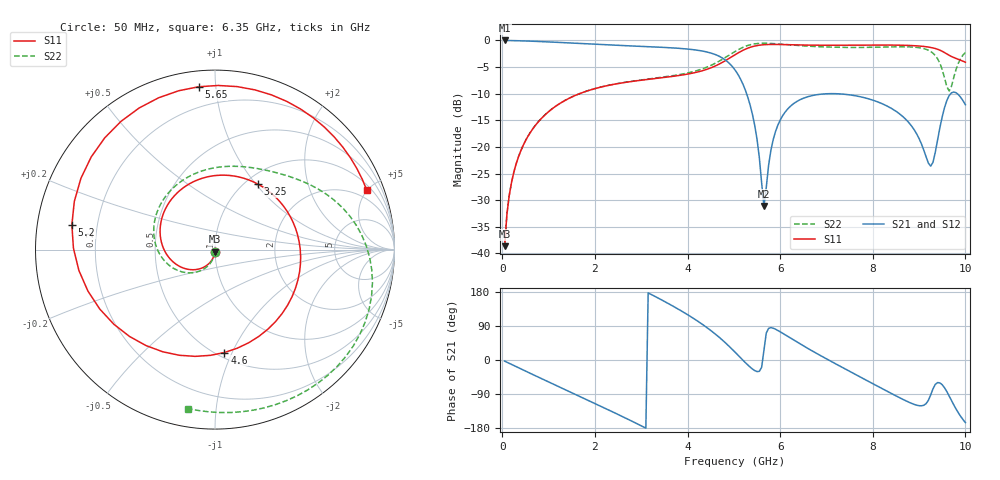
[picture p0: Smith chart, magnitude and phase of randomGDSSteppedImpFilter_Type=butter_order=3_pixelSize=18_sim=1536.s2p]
! freq	dB(S11)	phase(S11)	dB(S12)	phase(S12)
!  dB(S21)	phase(S21)	dB(S22)	phase(S22)
!S-par simulation data
#  GHz  S  DB  R 50
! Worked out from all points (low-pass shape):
!   200 points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, 50 MHz to 10 GHz, reference 50 ohm
!   highest |S21| = 0.00 dB at 50 MHz (marker M1); lowest = -31.1 dB at 5.65 GHz (marker M2)
!   |S21| within 3 dB of the highest: start of sweep to 4.691 GHz
!   lowest |S11| = -38.6 dB at 50 MHz (marker M3), VSWR 1.02, Z = 49.9 - j1.17 ohm
!   |S11| at or under -10 dB: start of sweep to 1.667 GHz
!   |S22| runs from -38.6 to -0.5 dB; largest |S21 - S12| = 0
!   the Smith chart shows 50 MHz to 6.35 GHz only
!   S11 on the Smith chart (normalised r, x): 50 MHz: 1.00, -0.02; 3.25 GHz: 1.14, +1.03; 4.6 GHz: 0.55, -0.94; 5.2 GHz: 0.11, +0.08; 5.65 GHz: 0.08, +0.90; 6.35 GHz: 1.30, +4.94
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0.05  -38.64 -92.9  -0.00 -2.9  -0.00 -2.9  -38.63 -92.4
0.2  -26.63 -102.8  -0.03 -11.7  -0.03 -11.7  -26.63 -101.0
0.5  -18.85 -121.9  -0.10 -29.2  -0.10 -29.2  -18.85 -117.4
1.75  -9.73 159.6  -0.61 -100.6  -0.61 -100.6  -9.73 177.6
3.25  -7.20 56.6  -1.21 170.8  -1.21 170.8  -7.15 103.9
3.4  -7.05 44.7  -1.27 161.2  -1.27 161.2  -6.98 96.6
4.1  -6.16 -20.3  -1.71 112.0  -1.71 112.0  -5.91 63.4
4.6  -4.79 -84.8  -2.65 68.5  -2.65 68.5  -4.28 39.2
5.05  -2.56 -162.0  -5.85 17.7  -5.85 17.7  -1.96 9.8
5.2  -1.84 170.2  -8.29 -1.0  -8.29 -1.0  -1.28 -2.9
5.45  -1.05 126.2  -15.91 -27.9  -15.91 -27.9  -0.64 -25.7
5.65  -0.80 95.7  -31.10 24.7  -31.10 24.7  -0.52 -43.7
5.9  -0.75 64.2  -17.10 81.3  -17.10 81.3  -0.62 -64.6
6.35  -0.84 21.5  -11.52 48.3  -11.52 48.3  -0.93 -99.6
6.7  -0.89 -3.8  -10.34 23.4  -10.34 23.4  -1.12 -126.4
7.5  -0.89 -49.0  -10.22 -29.9  -10.22 -29.9  -1.31 168.4
8.35  -0.87 -90.3  -12.50 -85.1  -12.50 -85.1  -1.22 92.1
9.1  -1.13 -133.4  -20.55 -119.5  -20.55 -119.5  -1.53 15.4
9.3  -1.41 -148.9  -22.90 -76.1  -22.90 -76.1  -2.39 -15.2
9.5  -2.03 -167.6  -14.31 -65.4  -14.31 -65.4  -5.49 -69.3
9.7  -3.02 172.0  -9.84 -106.9  -9.84 -106.9  -8.58 157.1
10  -4.09 127.9  -12.07 -165.1  -12.07 -165.1  -2.26 55.0
